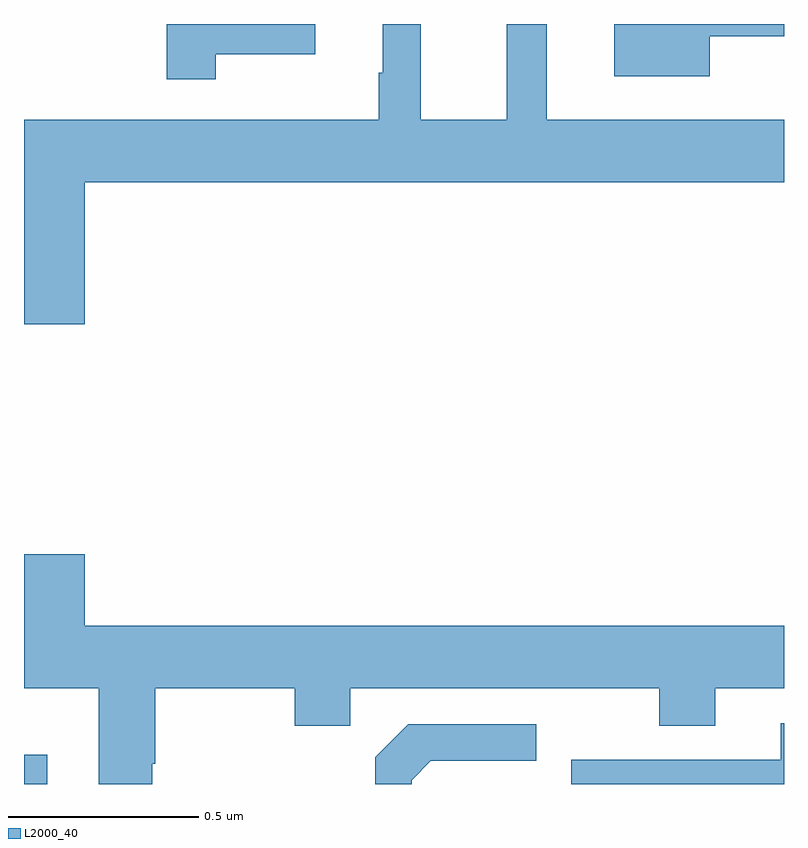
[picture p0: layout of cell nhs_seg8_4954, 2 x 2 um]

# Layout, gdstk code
import gdstk
lib = gdstk.Library(unit=1e-6, precision=1e-09)
def R(c, l, rs):  # rectangles x0, y0, x1, y1
    for r in rs: c.add(gdstk.rectangle(r[:2], r[2:], *l))
def P(c, l, *ps):  # polygons
    for p in ps: c.add(gdstk.Polygon(p, *l))
L2000_40 = (2000, 40)

nhs_seg8_4954 = lib.new_cell('nhs_seg8_4954')
R(nhs_seg8_4954, L2000_40, [(177,1130.9,177.061,1130.977)])
P(nhs_seg8_4954, L2000_40, [(177.16,1132.484),(179,1132.484),(179,1132.648),(178.375,1132.648),(178.375,1132.9),(178.271,1132.9),(178.271,1132.648),(178.044,1132.648),(178.044,1132.9),(177.944,1132.9),(177.944,1132.772),(177.933,1132.772),(177.933,1132.648),(177,1132.648),(177,1132.11),(177.16,1132.11)],
  [(178.804,1132.868),(179,1132.868),(179,1132.9),(178.553,1132.9),(178.553,1132.763),(178.804,1132.763)],
  [(177.505,1132.82),(177.766,1132.82),(177.766,1132.9),(177.376,1132.9),(177.376,1132.755),(177.505,1132.755)],
  [(177.337,1130.953),(177.345,1130.953),(177.345,1131.152),(177.712,1131.152),(177.712,1131.053),(177.858,1131.053),(177.858,1131.152),(178.672,1131.152),(178.672,1131.053),(178.819,1131.053),(178.819,1131.152),(179,1131.152),(179,1131.316),(177.16,1131.316),(177.16,1131.505),(177,1131.505),(177,1131.152),(177.197,1131.152),(177.197,1130.9),(177.337,1130.9)],
  [(179,1131.06),(178.991,1131.06),(178.991,1130.964),(178.44,1130.964),(178.44,1130.9),(179,1130.9)],
  [(178.02,1130.91),(178.071,1130.961),(178.348,1130.961),(178.348,1131.057),(178.011,1131.057),(177.924,1130.97),(177.924,1130.9),(178.02,1130.9)])

lib.write_gds('nhs_seg8_4954.gds')
